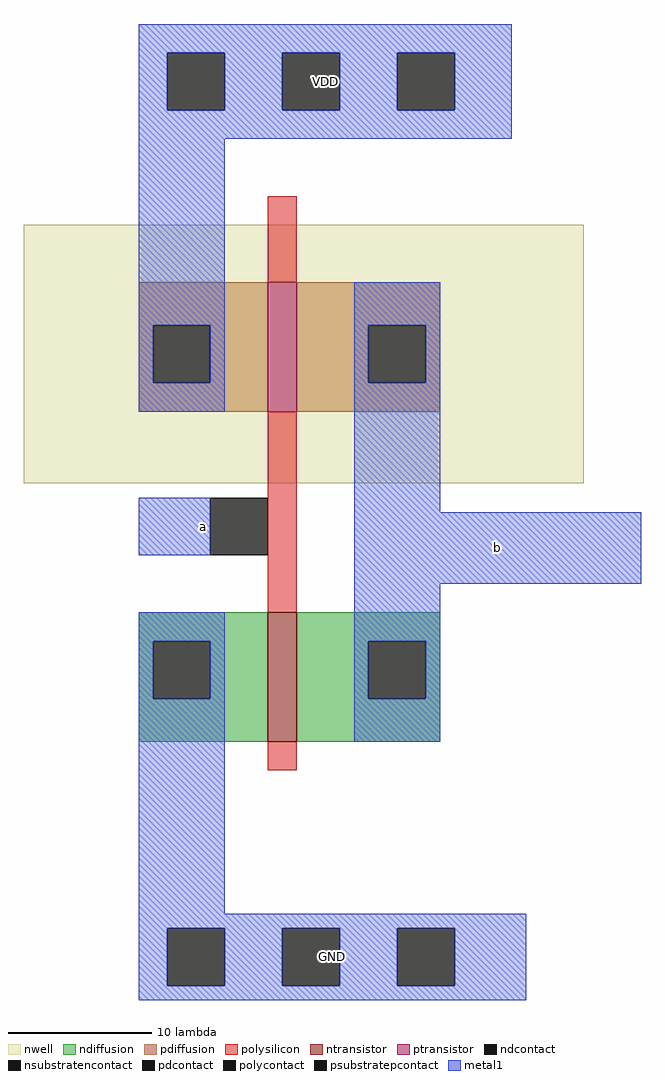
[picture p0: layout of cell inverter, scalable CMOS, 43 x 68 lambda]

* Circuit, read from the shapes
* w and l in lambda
.subckt inverter GND VDD a b
M1 b a GND GND nfet w=9 l=2
M2 b a VDD n1 pfet w=9 l=2
.ends

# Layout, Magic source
magic
tech scmos
<< nwell >>
rect -23 -8 16 10
<< polysilicon >>
rect -6 6 -4 12
rect -6 -17 -4 -3
rect -6 -28 -4 -26
<< ndiffusion >>
rect -15 -19 -6 -17
rect -15 -23 -14 -19
rect -10 -23 -6 -19
rect -15 -26 -6 -23
rect -4 -19 6 -17
rect -4 -23 1 -19
rect 5 -23 6 -19
rect -4 -26 6 -23
<< pdiffusion >>
rect -15 3 -6 6
rect -15 -1 -14 3
rect -10 -1 -6 3
rect -15 -3 -6 -1
rect -4 3 6 6
rect -4 -1 1 3
rect 5 -1 6 3
rect -4 -3 6 -1
<< metal1 >>
rect -15 22 11 24
rect -15 18 -13 22
rect -9 18 -5 22
rect -1 18 3 22
rect 7 18 11 22
rect -15 16 11 18
rect -15 3 -9 16
rect -15 -1 -14 3
rect -10 -1 -9 3
rect -15 -3 -9 -1
rect 0 3 6 6
rect 0 -1 1 3
rect 5 -1 6 3
rect -15 -13 -10 -9
rect 0 -10 6 -1
rect 0 -15 20 -10
rect -15 -19 -9 -17
rect -15 -23 -14 -19
rect -10 -23 -9 -19
rect -15 -38 -9 -23
rect 0 -19 6 -15
rect 0 -23 1 -19
rect 5 -23 6 -19
rect 0 -26 6 -23
rect -15 -39 12 -38
rect -15 -43 -13 -39
rect -9 -43 -5 -39
rect -1 -43 3 -39
rect 7 -43 12 -39
rect -15 -44 12 -43
<< ntransistor >>
rect -6 -26 -4 -17
<< ptransistor >>
rect -6 -3 -4 6
<< polycontact >>
rect -10 -13 -6 -9
<< ndcontact >>
rect -14 -23 -10 -19
rect 1 -23 5 -19
<< pdcontact >>
rect -14 -1 -10 3
rect 1 -1 5 3
<< psubstratepcontact >>
rect -13 -43 -9 -39
rect -5 -43 -1 -39
rect 3 -43 7 -39
<< nsubstratencontact >>
rect -13 18 -9 22
rect -5 18 -1 22
rect 3 18 7 22
<< labels >>
rlabel metal1 -15 16 11 24 5 VDD
rlabel metal1 -15 -44 12 -38 1 GND
rlabel metal1 -15 -13 -6 -9 1 a
rlabel metal1 0 -15 20 -10 1 b
<< end >>
